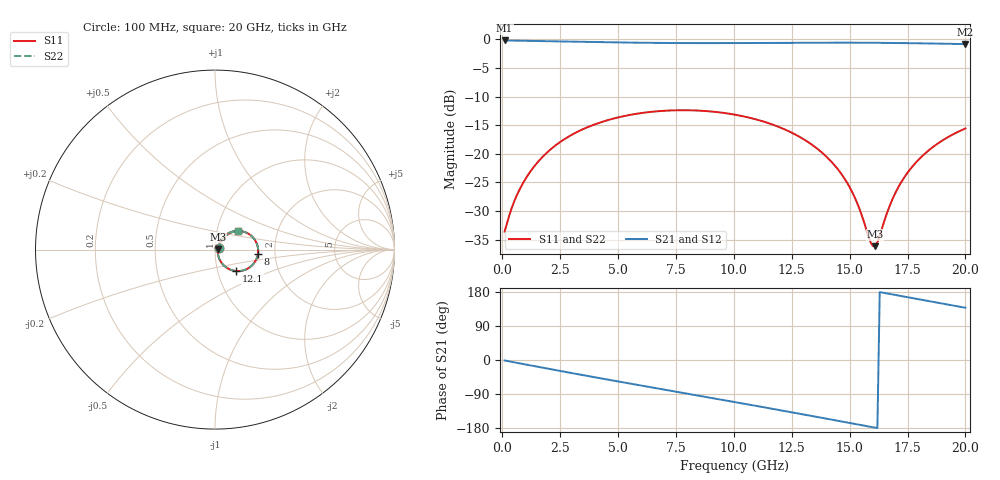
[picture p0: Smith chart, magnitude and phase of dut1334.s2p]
! Touchstone file exported from HFSS 2026.1.0
!  File:  C:/ffzhzh/LocalFiles/Ansys_Project_Files/temp_train_TSV_RDL_1334_1783338349_5512.aedt
!  Generated:  07:56:01 PM Jul  6, 2026
!  Design:  TSV_RDL
!  Project:  temp_train_TSV_RDL_1334_1783338349_5512
! Variables:
!  h_bsmrdl = 2.83um
!  h_ox = 20um
!  h_rdl = 5um
!  h_sub = 90.23um
!  h_tmrdl = 5.71um
!  h_tsv = 90.23um
!  h_via = 3um
!  l_bsmrdl = 579.74um
!  l_sub = 3542.99um
!  l_tmrdl = 326.05um
!  m_sub = 200um
!  pitch = 26.31um
!  r_tsv = 7.68um
!  s_tmrdl = 10um
!  w_bsmrdl = 16.33um
!  w_sub = 500um
!  w_tmrdl = 16.86um
!  x_tsv_center1 = 334.48um
!  x_tsv_center2 = 930.55um
!  x_tsv_center3 = 1273.46um
!  x_tsv_center4 = 1869.53um
!  x_tsv_center5 = 2212.44um
!  x_tsv_center6 = 2808.51um
# GHz S MA R 50.000000
! Terminal data exported
! Port[1] = TM_RDL1_1_T1
! Port[2] = TM_RDL5_1_T1
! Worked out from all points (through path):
!   200 points, 100 MHz to 20 GHz, reference 50 ohm
!   highest |S21| = -0.17 dB at 100 MHz (marker M1); lowest = -0.8 dB at 20 GHz (marker M2)
!   group delay of S21, straight-line fit = 30.6 ps
!   lowest |S11| = -36.1 dB at 16.1 GHz (marker M3), VSWR 1.03, Z = 51.6 + j0.115 ohm
!   |S11| at or under -10 dB: start of sweep to end of sweep
!   |S22| runs from -36.1 to -12.4 dB; largest |S21 - S12| = 2.1e-14
!   S11 on the Smith chart (normalised r, x): 100 MHz: 1.04, +0.01; 8 GHz: 1.63, -0.08; 12.1 GHz: 1.22, -0.30; 20 GHz: 1.26, +0.27
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0.1  0.02091 17.8  0.9802 -1.3  0.9802 -1.3  0.02091 17.8
! Gamma 0 0 0 0
! Port Impedance 50 0 50 0
0.6  0.04218 48.0  0.9751 -7.2  0.9751 -7.2  0.04218 48.0
1.3  0.07407 53.7  0.9705 -15.2  0.9705 -15.2  0.07407 53.7
2.3  0.1186 49.1  0.9634 -26.6  0.9634 -26.6  0.1186 49.1
3.5  0.1648 38.9  0.9536 -40.1  0.9536 -40.1  0.1648 38.9
5.2  0.2126 22.6  0.9408 -58.8  0.9408 -58.8  0.2126 22.6
6.8  0.2366 6.7  0.9325 -76.1  0.9325 -76.1  0.2366 6.7
8  0.2406 -5.2  0.9294 -89.0  0.9294 -89.0  0.2406 -5.2
10.1  0.219 -26.2  0.9301 -111.6  0.9301 -111.6  0.219 -26.2
12.1  0.1668 -45.8  0.9347 -133.6  0.9347 -133.6  0.1668 -45.8
13.4  0.1191 -57.5  0.9373 -148.1  0.9373 -148.1  0.1191 -57.5
14.2  0.08594 -63.2  0.9379 -157.1  0.9379 -157.1  0.08592 -63.2
14.8  0.0599 -65.1  0.9378 -163.8  0.9378 -163.8  0.05989 -65.1
15.3  0.03825 -61.6  0.9371 -169.5  0.9371 -169.5  0.03825 -61.6
15.9  0.01699 -26.7  0.9357 -176.3  0.9357 -176.3  0.01701 -26.6
16.1  0.01559 4.1  0.9351 -178.5  0.9351 -178.5  0.01561 4.1
16.2  0.01689 18.9  0.9347 -179.7  0.9347 -179.7  0.01692 18.9
16.7  0.03385 52.3  0.9327 174.7  0.9327 174.7  0.03387 52.3
17.3  0.05962 58.0  0.9298 167.9  0.9298 167.9  0.05964 58.0
18  0.08987 55.6  0.9257 160.1  0.9257 160.1  0.08989 55.6
18.9  0.1267 48.9  0.9196 150.1  0.9196 150.1  0.1267 48.9
20  0.1666 39.1  0.9116 137.9  0.9116 137.9  0.1667 39.1
